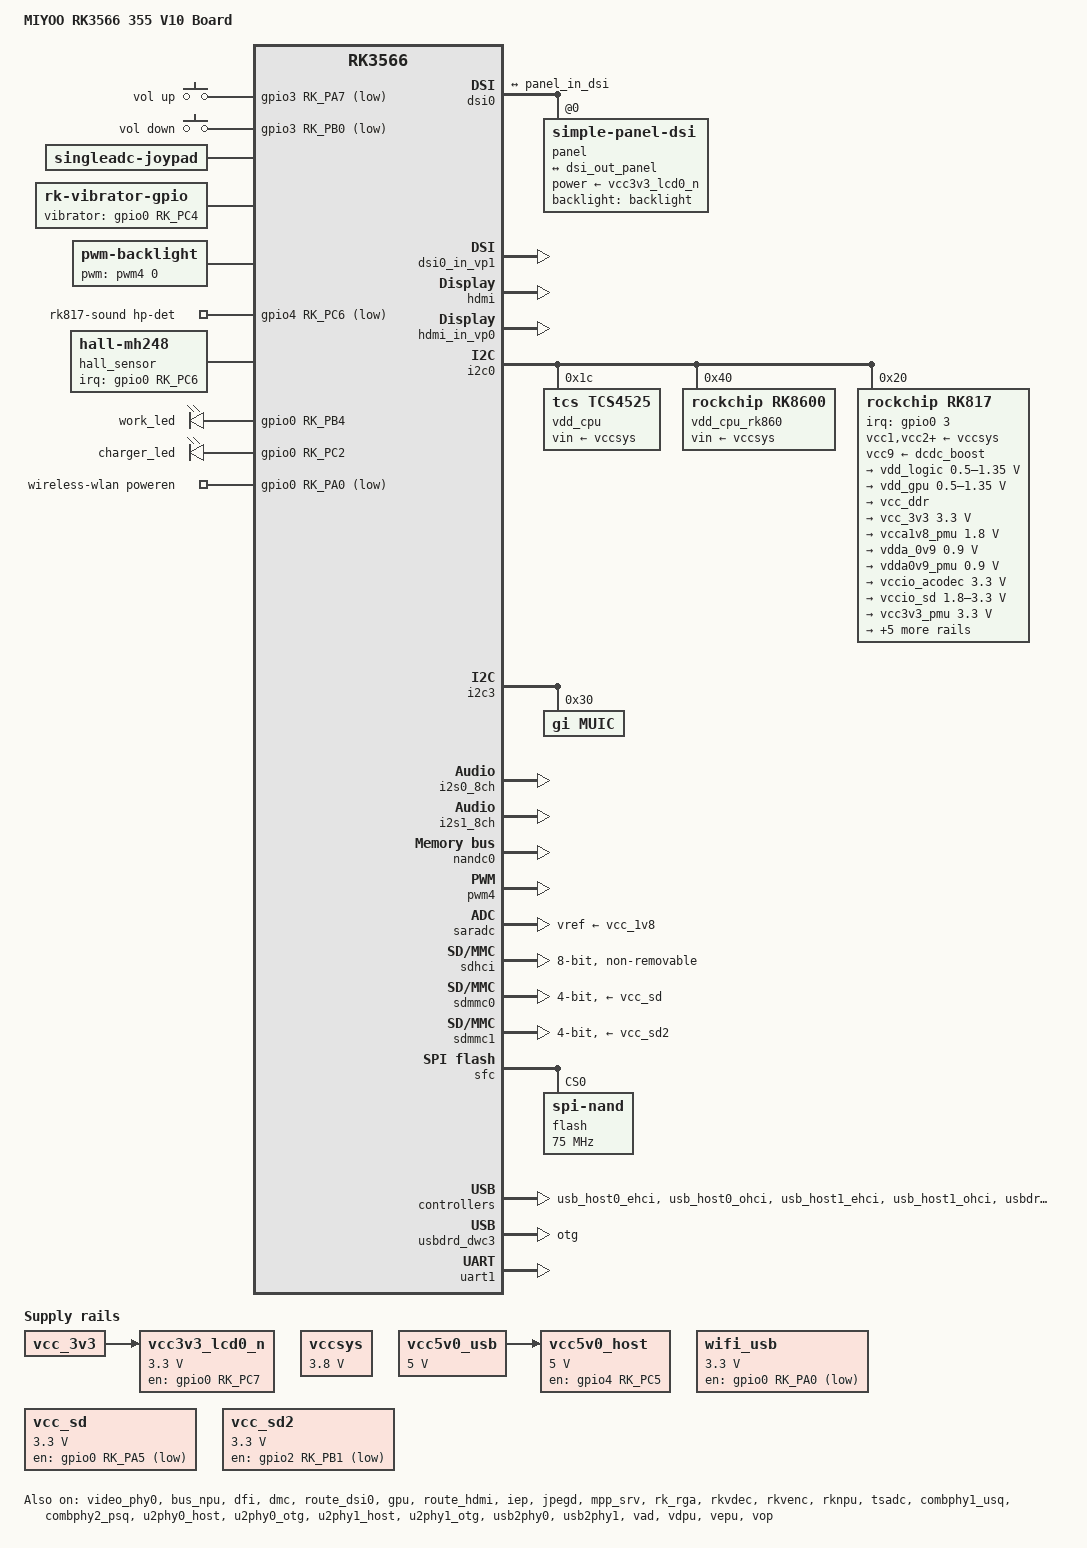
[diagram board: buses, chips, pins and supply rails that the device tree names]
// SPDX-License-Identifier: (GPL-2.0+ OR MIT)
/*
 * Copyright (c) 2020 Rockchip Electronics Co., Ltd.
 *
 */
/dts-v1/;

#include <dt-bindings/gpio/gpio.h>
#include <dt-bindings/display/media-bus-format.h>
#include <dt-bindings/pinctrl/rockchip.h>
#include <dt-bindings/display/rockchip_vop.h>
#include <dt-bindings/pwm/pwm.h>
#include <dt-bindings/input/rk-input.h>
#include <dt-bindings/display/drm_mipi_dsi.h>
#include "rk3566.dtsi"
#include "rk3568-linux.dtsi"


/ {
	model = "MIYOO RK3566 355 V10 Board";
	compatible = "rockchip,rk3566-miyoo-355-v10-linux", "rockchip,rk3566";
	
	chosen {
		bootargs = "console=tty0 console=ttyFIQ0 audit=0 firmware_class.path=/vendor/etc/firmware cma=0 init=/init rootwait ro loop.max_part=7 androidboot.console=ttyFIQ0 androidboot.hardware=rk30board androidboot.boot_devices=fe2b0000.dwmmc androidboot.selinux=permissive enforcing=0 mtdparts=spi-nand0:0x200000@0x000000(preloader),0x100000@0x200000(vnvm),0x400000@0x300000(uboot),0x2600000@0x700000(boot),0x4000000@0x2d00000(rootfs),0x1260000@0x6d00000(userdata)";
	};


/*
#define RETRO_DEVICE_ID_JOYPAD_B        0
#define RETRO_DEVICE_ID_JOYPAD_Y        1
#define RETRO_DEVICE_ID_JOYPAD_SELECT   2
#define RETRO_DEVICE_ID_JOYPAD_START    3
#define RETRO_DEVICE_ID_JOYPAD_UP       4
#define RETRO_DEVICE_ID_JOYPAD_DOWN     5
#define RETRO_DEVICE_ID_JOYPAD_LEFT     6
#define RETRO_DEVICE_ID_JOYPAD_RIGHT    7
#define RETRO_DEVICE_ID_JOYPAD_A        8
#define RETRO_DEVICE_ID_JOYPAD_X        9
#define RETRO_DEVICE_ID_JOYPAD_L       10
#define RETRO_DEVICE_ID_JOYPAD_R       11
#define RETRO_DEVICE_ID_JOYPAD_L2      12
#define RETRO_DEVICE_ID_JOYPAD_R2      13
#define RETRO_DEVICE_ID_JOYPAD_L3      14
#define RETRO_DEVICE_ID_JOYPAD_R3      15
*/

	gpio-keys-polled {
		compatible = "gpio-keys-polled";
		poll-interval = <10>;
        debounce-interval=<10>;
		vol-up-button {
				label = "vol up";
				linux,code = <KEY_VOLUMEUP>;
				gpios = <&gpio3 RK_PA7 GPIO_ACTIVE_LOW>;
		};
		vol-down-button {
				label = "vol down";
				linux,code = <KEY_VOLUMEDOWN>;
				gpios = <&gpio3 RK_PB0 GPIO_ACTIVE_LOW>;
		};
	};

	singleadc-joypad {
		compatible = "singleadc-joypad";
		joypad-name = "retrogame_joypad";
		joypad-product = <0x1101>;
		joypad-revision = <0x100>;
		joypad-vendor = <0x484b>;
		status = "okay";
		rocknix,use-miyoo-serial-joypad;
		pinctrl-names = "default";
		amux-count = <0>;
		poll-interval = <10>;

		sw1 {
			gpios = <&gpio3 RK_PA3 GPIO_ACTIVE_LOW>;
			label = "up";
			linux,code = <544>;
		};

		sw2 {
			gpios = <&gpio3 RK_PA4 GPIO_ACTIVE_LOW>;
			label = "down";
			linux,code = <545>;
		};

		sw3 {
			gpios = <&gpio3 RK_PA5 GPIO_ACTIVE_LOW>;
			label = "left";
			linux,code = <546>;
		};

		sw4 {
			gpios = <&gpio3 RK_PA6 GPIO_ACTIVE_LOW>;
			label = "right";
			linux,code = <547>;
		};

		sw5 {
			gpios = <&gpio3 RK_PC3 GPIO_ACTIVE_LOW>;
			label = "a";
			linux,code = <304>;
		};

		sw6 {
			gpios = <&gpio3 RK_PC2 GPIO_ACTIVE_LOW>;
			label = "b";
			linux,code = <305>;
		};

		sw7 {
			gpios = <&gpio3 RK_PC1 GPIO_ACTIVE_LOW>;
			label = "x";
			linux,code = <307>;
		};

		sw8 {
			gpios = <&gpio3 RK_PC0 GPIO_ACTIVE_LOW>;
			label = "y";
			linux,code = <308>;
		};

		sw9 {
			gpios = <&gpio3 RK_PB6 GPIO_ACTIVE_LOW>;
			label = "select";
			linux,code = <314>;
		};

		sw10 {
			gpios = <&gpio3 RK_PB5 GPIO_ACTIVE_LOW>;
			label = "start";
			linux,code = <315>;
		};

		sw11 {
			gpios = <&gpio3 RK_PA1 GPIO_ACTIVE_LOW>;
			label = "menu";
			linux,code = <316>;
		};

		sw12 {
			gpios = <&gpio3 RK_PB1 GPIO_ACTIVE_LOW>;
			label = "l1";
			linux,code = <310>;
		};

		sw14 {
			gpios = <&gpio3 RK_PB2 GPIO_ACTIVE_LOW>;
			label = "l2";
			linux,code = <312>;
		};

		sw13 {
			gpios = <&gpio3 RK_PB3 GPIO_ACTIVE_LOW>;
			label = "r1";
			linux,code = <311>;
		};

		sw15 {
			gpios = <&gpio3 RK_PB4 GPIO_ACTIVE_LOW>;
			label = "r2";
			linux,code = <313>;
		};

		sw16 {
			gpios = <&gpio2 RK_PC1 GPIO_ACTIVE_HIGH>;
			label = "l3";
			linux,code = <317>;
		};

		sw17 {
			gpios = <&gpio2 RK_PC0 GPIO_ACTIVE_HIGH>;
			label = "r3";
			linux,code = <318>;
		};
	};

	vibrator {
		compatible = "rk-vibrator-gpio";
		vibrator-gpio = <&gpio0 RK_PC4 GPIO_ACTIVE_HIGH>;
		status = "okay";
	};

	backlight: backlight {
		compatible = "pwm-backlight";
		pwms = <&pwm4 0 1250000 0>;
		brightness-levels = <
			  0  20  20  21  21  22  22  23
			 23  24  24  25  25  26  26  27
			 27  28  28  29  29  30  30  31
			 31  32  32  33  33  34  34  35
			 35  36  36  37  37  38  38  39
			 40  41  42  43  44  45  46  47
			 48  49  50  51  52  53  54  55
			 56  57  58  59  60  61  62  63
			 64  65  66  67  68  69  70  71
			 72  73  74  75  76  77  78  79
			 80  81  82  83  84  85  86  87
			 88  89  90  91  92  93  94  95
			 96  97  98  99 100 101 102 103
			104 105 106 107 108 109 110 111
			112 113 114 115 116 117 118 119
			120 121 122 123 124 125 126 127
			128 129 130 131 132 133 134 135
			136 137 138 139 140 141 142 143
			144 145 146 147 148 149 150 151
			152 153 154 155 156 157 158 159
			160 161 162 163 164 165 166 167
			168 169 170 171 172 173 174 175
			176 177 178 179 180 181 182 183
			184 185 186 187 188 189 190 191
			192 193 194 195 196 197 198 199
			200 201 202 203 204 205 206 207
			208 209 210 211 212 213 214 215
			216 217 218 219 220 221 222 223
			224 225 226 227 228 229 230 231
			232 233 234 235 236 237 238 239
			240 241 242 243 244 245 246 247
			248 249 250 251 252 253 254 255
		>;
		default-brightness-level = <200>;
	};

	charge-animation {
		compatible = "rockchip,uboot-charge";
		rockchip,uboot-charge-on = <1>;
		rockchip,android-charge-on = <0>;
		rockchip,uboot-low-power-voltage = <3350>;
		rockchip,screen-on-voltage = <3400>;
		status = "okay";
	};

	hdmi_sound: hdmi-sound {
		compatible = "simple-audio-card";
		simple-audio-card,format = "i2s";
		simple-audio-card,mclk-fs = <128>;
		simple-audio-card,name = "rockchip,hdmi";
		status = "okay";

		simple-audio-card,cpu {
				sound-dai = <&i2s0_8ch>;
		};
		simple-audio-card,codec {
				sound-dai = <&hdmi>;
		};
	};

	rk817-sound {
		compatible = "rockchip,multicodecs-card";
		rockchip,card-name = "rockchip-rk817";
		hp-det-gpio = <&gpio4 RK_PC6 GPIO_ACTIVE_LOW>;
		rockchip,format = "i2s";
		rockchip,mclk-fs = <256>;
		rockchip,cpu = <&i2s1_8ch>;
		rockchip,codec = <&rk817_codec>;
		pinctrl-names = "default";
		pinctrl-0 = <&hp_det>;
	};

	hall_sensor: hall-mh248 {
		compatible = "hall-mh248";
		irq-gpio = <&gpio0 RK_PC6 IRQ_TYPE_EDGE_BOTH>;
		hall-active = <1>;
		status = "okay";
	};

	leds: leds {
		compatible = "gpio-leds";
		work_led: work {
			gpios = <&gpio0 RK_PB4 GPIO_ACTIVE_HIGH>;
			linux,default-trigger = "default-on";
		};
		charger_led: charger {
			gpios = <&gpio0 RK_PC2 GPIO_ACTIVE_HIGH>;
			linux,default-trigger = "battery-charging";
			retain-state-suspended;
		};
	};

	vccsys: vccsys {
		compatible = "regulator-fixed";
		regulator-name = "vcc3v8_sys";
		regulator-always-on;
		regulator-boot-on;
		regulator-min-microvolt = <3800000>;
		regulator-max-microvolt = <3800000>;
	};

	vcc5v0_usb: vcc5v0-usb {
		compatible = "regulator-fixed";
		regulator-name = "vcc5v0_usb";
		regulator-always-on;
		regulator-boot-on;
		regulator-min-microvolt = <5000000>;
		regulator-max-microvolt = <5000000>;
	};

	vcc5v0_host: vcc5v0-host-regulator {
		compatible = "regulator-fixed";
		regulator-name = "vcc5v0_host";
		regulator-boot-on;
		regulator-always-on;
		regulator-min-microvolt = <5000000>;
		regulator-max-microvolt = <5000000>;
		enable-active-high;
		gpio = <&gpio4 RK_PC5 GPIO_ACTIVE_HIGH>;	/*USB_HOST_PWREN2_H*/
		vin-supply = <&vcc5v0_usb>;
		pinctrl-names = "default";
		pinctrl-0 = <&vcc5v0_host_en>;
	};
	
	vcc3v3_lcd0_n: vcc3v3-lcd0-n {
		compatible = "regulator-fixed";
		regulator-name = "vcc3v3_lcd0_n";
		regulator-boot-on;
		regulator-always-on;
		regulator-min-microvolt = <3300000>;
		regulator-max-microvolt = <3300000>;
		enable-active-high;
		gpio = <&gpio0 RK_PC7 GPIO_ACTIVE_HIGH>;	/*LCD_PWREN_H*/
		vin-supply = <&vcc_3v3>;

		regulator-state-mem {
			regulator-off-in-suspend;
		};
	};
	
	wifi_usb: wifi-usb {
		compatible = "regulator-fixed";
		regulator-name = "wifi_usb";
		regulator-min-microvolt = <3300000>;
		regulator-max-microvolt = <3300000>;
		regulator-boot-on;
		enable-active-low;
		gpio = <&gpio0 RK_PA0 GPIO_ACTIVE_LOW>;
	};

	wireless-wlan {
		compatible = "wlan-platdata";
		rockchip,grf = <&grf>;
		wifi_chip_type = "rtl8733bu";
		pinctrl-names = "default";
		/* pinctrl-0 = <&wifi_host_wake_irq>; */
		/* WIFI,host_wake_irq = <&gpio0 RK_PC4 GPIO_ACTIVE_HIGH>; */
		WIFI,poweren_gpio = <&gpio0 RK_PA0 GPIO_ACTIVE_LOW>;	/*WIFI_PWREN_L*/
		status = "okay";
	};

	vcc_sd: vcc-sd {
		compatible = "regulator-fixed";
		enable-active-low;
		enable-gpio = <&gpio0 RK_PA5 GPIO_ACTIVE_LOW>;	/*SDMMC_PWREN_L*/
		regulator-min-microvolt = <3300000>;
		regulator-max-microvolt = <3300000>;
		pinctrl-names = "default";
		pinctrl-0 = <&vcc_sd_h>;
		regulator-name = "vcc_sd";
	};
	
	vcc_sd2: vcc-sd2 {
		compatible = "regulator-fixed";
		enable-active-low;
		enable-gpio = <&gpio2 RK_PB1 GPIO_ACTIVE_LOW>;	/*SDMMC1_PWREN_L*/
		regulator-min-microvolt = <3300000>;
		regulator-max-microvolt = <3300000>;
		pinctrl-names = "default";
		pinctrl-0 = <&vcc_sd2_h>;
		regulator-name = "vcc_sd2";
	};

	test-power {
		status = "okay";
	};
};

&video_phy0 {
	status = "okay";
};

&video_phy1 {
	status = "disabled";
};

&vp0 {
	cursor-win-id = <ROCKCHIP_VOP2_CLUSTER0>;
};


&bus_npu {
	bus-supply = <&vdd_logic>;
	pvtm-supply = <&vdd_cpu_rk860>;
	status = "okay";
};


&cpu0 {
	cpu-supply = <&vdd_cpu_rk860>;
	status = "okay";
};

&dfi {
	status = "okay";
};

&dmc {
	center-supply = <&vdd_logic>;
	status = "okay";
};

&dsi0 {
	status = "okay";

	panel@0 {
		status = "okay";
		compatible = "simple-panel-dsi";
		reg = <0>;
		power-supply = <&vcc3v3_lcd0_n>;
		backlight = <&backlight>;
		prepare-delay-ms = <0>;
		reset-delay-ms = <160>;
		init-delay-ms = <200>;
		enable-delay-ms = <200>;
		disable-delay-ms = <20>;
		unprepare-delay-ms = <20>;

		width-mm = <68>;
		height-mm = <121>;
		dsi,flags = <(MIPI_DSI_MODE_VIDEO | MIPI_DSI_MODE_VIDEO_BURST |
			      MIPI_DSI_MODE_LPM | MIPI_DSI_MODE_EOT_PACKET)>;
		dsi,format = <MIPI_DSI_FMT_RGB888>;
		dsi,lanes  = <2>;

		panel-init-sequence = [
			05 FA 01 11   
			05 20 01 29
			29 00 04 B9 F1 12 87
			29 00 04 B2 78 04 70
			29 00 0B B3 10 10 28 28 03 FF 00 00 00 00
			23 00 02 B4 80
			29 00 03 B5 0A 0A
			29 00 05 B8 26 22 F0 13
			29 00 1C BA 31 81 05 F9 0E 0E 20 00 00 00 00 00 00 00 44 25 00 91 0A 00 00 01 4F 01 00 00 37
			23 00 02 BC 47   //1 defaut=46
			29 00 06 BF 02 11 00 80 04
			29 00 0A C0 73 73 50 50 00 00 12 73 00
			29 00 12 C1 73 00 32 32 77 F4 77 77 CC CC FF FF 11 11 00 00 32
			29 00 0D C7 10 00 0A 00 00 00 00 00 ED C5 00 A5
			29 00 05 C8 10 40 1E 03
			23 00 02 CC 0B
			29 00 23 E0 00 05 09 29 3C 3F 3B 37 05 0A 0C 10 13 10 13 12 1A 00 05 09 29 3C 3F 3B 37 05 0A 0C 10 13 10 13 12 1A
			29 00 08 E1 11 11 91 00 00 00 00
			29 00 0F E3 07 07 0B 0B 0B 0B 00 00 00 00 FF 04 C0 10
			29 00 40 E9 C8 10 02 00 00 B0 B1 11 31 23 28 80 B0 B1 27 08 00 04 02 00 00 00 00 04 02 00 00 00 88 88 BA 60 24 08 88 88 88 88 88 88 88 BA 71 35 18 88 88 88 88 88 00 00 00 01 00 00 00 00 00 00 00 00 00
			29 00 3E EA 97 0A 82 02 03 07 00 00 00 00 00 00 81 88 BA 17 53 88 88 88 88 88 88 80 88 BA 06 42 88 88 88 88 88 88 23 00 00 02 A5 00 00 00 00 00 00 00 00 00 00 00 00 00 00 00 00 00 00 00 00 00 00
			29 00 04 EF FF FF 01
		];

		panel-exit-sequence = [
			05 00 01 28
			05 00 01 10
		];

		display-timings {
			native-mode = <&timing0>;
			timing0: timing0 {
				clock-frequency = <32000000>;
				hactive = <640>;
				vactive = <480>;
				hfront-porch = <150>;
				hsync-len = <120>;
				hback-porch = <120>;
				vfront-porch = <20>;
				vsync-len = <6>;
				vback-porch = <12>;
				hsync-active = <0>;
				vsync-active = <0>;
				de-active = <0>;
				pixelclk-active = <0>;
			};
		};

		ports {
			#address-cells = <1>;
			#size-cells = <0>;

			port@0 {
				reg = <0>;
				panel_in_dsi: endpoint {
					remote-endpoint = <&dsi_out_panel>;
				};
			};
		};
	};

	ports {
		#address-cells = <1>;
		#size-cells = <0>;

		port@1 {
			reg = <1>;
			dsi_out_panel: endpoint {
				remote-endpoint = <&panel_in_dsi>;
			};
		};
	};

};

&route_dsi0 {
	status = "okay";
	connect = <&vp1_out_dsi0>;
};

&dsi0_in_vp0 {
	status = "disabled";
};

&dsi0_in_vp1 {
	status = "okay";
};

&gpu {
	mali-supply = <&vdd_gpu>;
	status = "okay";
};

&hdmi {
	status = "okay";
	rockchip,phy-table =
		<92812500  0x8009 0x0000 0x0270>,
		<165000000 0x800b 0x0000 0x026d>,
		<185625000 0x800b 0x0000 0x01ed>,
		<297000000 0x800b 0x0000 0x01ad>,
		<594000000 0x8029 0x0000 0x0088>,
		<000000000 0x0000 0x0000 0x0000>;
};

&hdmi_in_vp0 {
	status = "okay";
};

&hdmi_in_vp1 {
	status = "disabled";
};

&route_hdmi {
	status = "okay";
	connect = <&vp0_out_hdmi>;
};

&hdmi_sound {
	status = "okay";
};


&i2c0 {
	status = "okay";

	vdd_cpu: tcs4525@1c {
		compatible = "tcs,tcs4525";
		reg = <0x1c>;
		vin-supply = <&vccsys>;
		regulator-compatible = "fan53555-reg";
		regulator-name = "vdd_cpu";
		regulator-min-microvolt = <712500>;
		regulator-max-microvolt = <1390000>;
		regulator-init-microvolt = <900000>;
		regulator-ramp-delay = <2300>;
		fcs,suspend-voltage-selector = <1>;
		regulator-boot-on;
		regulator-always-on;
		regulator-state-mem {
			regulator-off-in-suspend;
		};
	};

    vdd_cpu_rk860: rk8600@40{
        compatible = "rockchip,rk8600";
        reg = <0x40>;
        vin-supply = <&vccsys>;
        regulator-compatible = "rk860x-reg";
        regulator-name = "vdd_cpu";
        regulator-min-microvolt = <712500>;
        regulator-max-microvolt = <1390000>;
        regulator-init-microvolt = <900000>;
        regulator-ramp-delay = <2300>;
        rockchip,suspend-voltage-selector = <1>;
        regulator-boot-on;
        regulator-always-on;
        regulator-state-mem {
            regulator-off-in-suspend;
        };
    };

	rk817: pmic@20 {
		compatible = "rockchip,rk817";
		reg = <0x20>;
		interrupt-parent = <&gpio0>;
		interrupts = <3 IRQ_TYPE_LEVEL_LOW>;

		pinctrl-names = "default", "pmic-sleep",
				"pmic-power-off", "pmic-reset";
		pinctrl-0 = <&pmic_int>;
		pinctrl-1 = <&soc_slppin_slp>, <&rk817_slppin_slp>;
		pinctrl-2 = <&soc_slppin_gpio>, <&rk817_slppin_pwrdn>;
		pinctrl-3 = <&soc_slppin_gpio>, <&rk817_slppin_rst>;
		rockchip,system-power-controller;
		wakeup-source;
		#clock-cells = <1>;
		clock-output-names = "rk808-clkout1", "rk808-clkout2";
		//fb-inner-reg-idxs = <2>;
		/* 1: rst regs (default in codes), 0: rst the pmic */
		pmic-reset-func = <0>;
		/* not save the PMIC_POWER_EN register in uboot */
		not-save-power-en = <1>;
		vcc1-supply = <&vccsys>;
		vcc2-supply = <&vccsys>;
		vcc3-supply = <&vccsys>;
		vcc4-supply = <&vccsys>;
		vcc5-supply = <&vccsys>;
		vcc6-supply = <&vccsys>;
		vcc7-supply = <&vccsys>;
		vcc8-supply = <&vccsys>;
		vcc9-supply = <&dcdc_boost>;

		pwrkey {
			status = "okay";
		};

		pinctrl_rk8xx: pinctrl_rk8xx {
			gpio-controller;
			#gpio-cells = <2>;

			rk817_slppin_null: rk817_slppin_null {
				pins = "gpio_slp";
				function = "pin_fun0";
			};

			rk817_slppin_slp: rk817_slppin_slp {
				pins = "gpio_slp";
				function = "pin_fun1";
			};

			rk817_slppin_pwrdn: rk817_slppin_pwrdn {
				pins = "gpio_slp";
				function = "pin_fun2";
			};

			rk817_slppin_rst: rk817_slppin_rst {
				pins = "gpio_slp";
				function = "pin_fun3";
			};
		};

		regulators {
			vdd_logic: DCDC_REG1 {
				regulator-always-on;
				regulator-boot-on;
				regulator-min-microvolt = <500000>;
				regulator-max-microvolt = <1350000>;
				regulator-init-microvolt = <900000>;
				regulator-ramp-delay = <6001>;
				regulator-initial-mode = <0x2>;
				regulator-name = "vdd_logic";
				regulator-state-mem {
					regulator-off-in-suspend;
				};
			};

			vdd_gpu: DCDC_REG2 {
				regulator-always-on;
				regulator-boot-on;
				regulator-min-microvolt = <500000>;
				regulator-max-microvolt = <1350000>;
				regulator-init-microvolt = <900000>;
				regulator-ramp-delay = <6001>;
				regulator-initial-mode = <0x2>;
				regulator-name = "vdd_gpu";
				regulator-state-mem {
					regulator-off-in-suspend;
				};
			};

			vcc_ddr: DCDC_REG3 {
				regulator-always-on;
				regulator-boot-on;
				regulator-initial-mode = <0x2>;
				regulator-name = "vcc_ddr";
				regulator-state-mem {
					regulator-on-in-suspend;
				};
			};

			vcc_3v3: DCDC_REG4 {
				regulator-always-on;
				regulator-boot-on;
				regulator-min-microvolt = <3300000>;
				regulator-max-microvolt = <3300000>;
				regulator-initial-mode = <0x2>;
				regulator-name = "vcc_3v3";
				regulator-state-mem {
					regulator-off-in-suspend;
					regulator-suspend-microvolt = <3300000>;
				};
			};

			vcca1v8_pmu: LDO_REG1 {
				regulator-always-on;
				regulator-boot-on;
				regulator-min-microvolt = <1800000>;
				regulator-max-microvolt = <1800000>;
				regulator-name = "vcca1v8_pmu";
				regulator-state-mem {
					regulator-on-in-suspend;
					regulator-suspend-microvolt = <1800000>;
				};
			};

			vdda_0v9: LDO_REG2 {
				regulator-always-on;
				regulator-boot-on;
				regulator-min-microvolt = <900000>;
				regulator-max-microvolt = <900000>;
				regulator-name = "vdda_0v9";
				regulator-state-mem {
					regulator-off-in-suspend;
				};
			};

			vdda0v9_pmu: LDO_REG3 {
				regulator-always-on;
				regulator-boot-on;
				regulator-min-microvolt = <900000>;
				regulator-max-microvolt = <900000>;
				regulator-name = "vdda0v9_pmu";
				regulator-state-mem {
					regulator-on-in-suspend;
					regulator-suspend-microvolt = <900000>;
				};
			};

			vccio_acodec: LDO_REG4 {
				regulator-always-on;
				regulator-boot-on;
				regulator-min-microvolt = <3300000>;
				regulator-max-microvolt = <3300000>;
				regulator-name = "vccio_acodec";
				regulator-state-mem {
					regulator-off-in-suspend;
				};
			};

			vccio_sd: LDO_REG5 {
				regulator-always-on;
				regulator-boot-on;
				regulator-min-microvolt = <1800000>;
				regulator-max-microvolt = <3300000>;
				regulator-name = "vccio_sd";
				regulator-state-mem {
					regulator-off-in-suspend;
				};
			};

			vcc3v3_pmu: LDO_REG6 {
				regulator-always-on;
				regulator-boot-on;
				regulator-min-microvolt = <3300000>;
				regulator-max-microvolt = <3300000>;
				regulator-name = "vcc3v3_pmu";
				regulator-state-mem {
					regulator-on-in-suspend;
					regulator-suspend-microvolt = <3300000>;
				};
			};

			vcc_1v8: LDO_REG7 {
				regulator-always-on;
				regulator-boot-on;
				regulator-min-microvolt = <1800000>;
				regulator-max-microvolt = <1800000>;
				regulator-name = "vcc_1v8";
				regulator-state-mem {
					regulator-off-in-suspend;
				};
			};

			vcc1v8_dvp: LDO_REG8 {
				regulator-always-on;
				regulator-boot-on;
				regulator-min-microvolt = <1800000>;
				regulator-max-microvolt = <1800000>;
				regulator-name = "vcc1v8_dvp";
				regulator-state-mem {
					regulator-off-in-suspend;
				};
			};

			vcc2v8_dvp: LDO_REG9 {
				regulator-always-on;
				regulator-boot-on;
				regulator-min-microvolt = <2800000>;
				regulator-max-microvolt = <2800000>;
				regulator-name = "vcc2v8_dvp";
				regulator-state-mem {
					regulator-off-in-suspend;
				};
			};

			dcdc_boost: BOOST {
				regulator-always-on;
				regulator-boot-on;
				regulator-min-microvolt = <5000000>;
				regulator-max-microvolt = <5000000>;
				regulator-name = "boost";
				regulator-state-mem {
					regulator-off-in-suspend;
				};
			};

			otg_switch: OTG_SWITCH {
				regulator-name = "otg_switch";
				regulator-state-mem {
					regulator-off-in-suspend;
				};
			};
		};

		battery {
			compatible = "rk817,battery";
			ocv_table = <3400 3420 3450 3470 3495 3516 3540
			          3566 3585 3622 3655 3685 3727 3759
					  3790 3836 3873 3920 3970 4186 4227>;
			design_capacity = <3000>;
			design_qmax = <3300>;
			bat_res = <100>;
			sleep_enter_current = <150>;
			sleep_exit_current = <180>;
			sleep_filter_current = <100>;
			power_off_thresd = <3350>;
			zero_algorithm_vol = <3850>;
			max_soc_offset = <60>;
			monitor_sec = <5>;
			sample_res = <10>;
			virtual_power = <0>;
		};

		charger {
			compatible = "rk817,charger";
			min_input_voltage = <4500>;
			max_input_current = <1800>;
			max_chrg_current = <1800>;
			max_chrg_voltage = <4300>;
			chrg_term_mode = <0>;
			chrg_finish_cur = <300>;
			virtual_power = <0>;
			dc_det_adc = <0>;
			extcon = <&usb2phy0>;
			gate_function_disable = <1>;
		};

		rk817_codec: codec {
			#sound-dai-cells = <0>;
			compatible = "rockchip,rk817-codec";
			clocks = <&cru I2S1_MCLKOUT>;
			clock-names = "mclk";
			assigned-clocks = <&cru I2S1_MCLKOUT>, <&cru I2S1_MCLK_TX_IOE>;
			assigned-clock-rates = <12288000>;
			assigned-clock-parents = <&cru I2S1_MCLKOUT_TX>, <&cru I2S1_MCLKOUT_TX>;
			pinctrl-names = "default";
			pinctrl-0 = <&i2s1m0_mclk>;
			hp-volume = <20>;
			spk-volume = <3>;
			/*out-l2spk-r2hp;*/
			spk-ctl-gpios = <&gpio4 RK_PC2 GPIO_ACTIVE_HIGH>;
			status = "okay";
		};
	};
};

&i2c3 {
	status = "okay";

	muic: muic@30 {
		status = "okay";
		compatible = "gi,muic";
		reg = <0x30>;
	};
};

&i2s0_8ch {
	status = "okay";
};

&i2s1_8ch {
	status = "okay";
	rockchip,clk-trcm = <1>;
	pinctrl-names = "default";
	pinctrl-0 = <&i2s1m0_sclktx
		     &i2s1m0_lrcktx
		     &i2s1m0_sdi0
		     &i2s1m0_sdo0>;
};

&iep {
	status = "okay";
};

&iep_mmu {
	status = "okay";
};

&jpegd {
	status = "okay";
};

&jpegd_mmu {
	status = "okay";
};

&mpp_srv {
	status = "okay";
};

&nandc0 {
	status = "okay";
};

 /*
  * There are 10 independent IO domains in RK3566/RK3568, including PMUIO[0:2] and VCCIO[1:7].
  * 1/ PMUIO0 and PMUIO1 are fixed-level power domains which cannot be configured;
  * 2/ PMUIO2 and VCCIO1,VCCIO[3:7] domains require that their hardware power supply voltages
  *    must be consistent with the software configuration correspondingly
  *	a/ When the hardware IO level is connected to 1.8V, the software voltage configuration
  *	   should also be configured to 1.8V accordingly;
  *	b/ When the hardware IO level is connected to 3.3V, the software voltage configuration
  *	   should also be configured to 3.3V accordingly;
  * 3/ VCCIO2 voltage control selection (0xFDC20140)
  *	BIT[0]: 0x0: from GPIO_0A7 (default)
  *	BIT[0]: 0x1: from GRF
  *    Default is determined by Pin FLASH_VOL_SEL/GPIO0_A7:
  *	L:VCCIO2 must supply 3.3V
  *	H:VCCIO2 must supply 1.8V
  */
&pmu_io_domains {
	status = "okay";
	pmuio2-supply = <&vcc3v3_pmu>;
	vccio1-supply = <&vccio_acodec>;
	vccio3-supply = <&vccio_sd>;
	vccio4-supply = <&vcc_3v3>;
	vccio5-supply = <&vcc_1v8>;
	vccio6-supply = <&vcc_1v8>;
	vccio7-supply = <&vcc_3v3>;
};

&pwm4 {
	status = "okay";
};

&rk_rga {
	status = "okay";
};

&rkvdec {
	status = "okay";
};

&rkvdec_mmu {
	status = "okay";
};

&rkvenc {
	venc-supply = <&vdd_logic>;
	status = "okay";
};

&rkvenc_mmu {
	status = "okay";
};

&rknpu {
	rknpu-supply = <&vdd_gpu>;
	status = "okay";
};

&rknpu_mmu {
	status = "okay";
};

&saradc {
	status = "okay";
	vref-supply = <&vcc_1v8>;
};

&sdhci {
	bus-width = <8>;
	no-sdio;
	no-sd;
	non-removable;
	max-frequency = <200000000>;
	full-pwr-cycle-in-suspend;
	status = "okay";
};

&sdmmc0 {
	max-frequency = <150000000>;
	no-sdio;
	no-mmc;
	bus-width = <4>;
	cap-mmc-highspeed;
	cap-sd-highspeed;
	disable-wp;
	sd-uhs-sdr104;
	vmmc-supply = <&vcc_sd>;
	vqmmc-supply = <&vccio_sd>;
	pinctrl-names = "default";
	pinctrl-0 = <&sdmmc0_bus4 &sdmmc0_clk &sdmmc0_cmd &sdmmc0_det>;
	status = "okay";
};

&sdmmc1 {
	max-frequency = <150000000>;
	no-sdio;
	no-mmc;
	bus-width = <4>;
	cap-mmc-highspeed;
	cap-sd-highspeed;
	disable-wp;
	sd-uhs-sdr104;
	vmmc-supply = <&vcc_sd2>;
	vqmmc-supply = <&vccio_sd>;
	pinctrl-names = "default";
	pinctrl-0 = <&sdmmc1_bus4 &sdmmc1_clk &sdmmc1_cmd &sdmmc1_det>;
	status = "okay";
};

&sfc {
	status = "okay";

	flash@0 {
		compatible = "spi-nand";
		reg = <0>;
		spi-max-frequency = <75000000>;
		spi-rx-bus-width = <4>;
		spi-tx-bus-width = <1>;
	};
};

&tsadc {
	status = "okay";
};

&combphy1_usq {
	status = "okay";
};

&combphy2_psq {
	status = "okay";
};

&u2phy0_host {
	phy-supply = <&vcc5v0_host>;
	status = "okay";
};

&u2phy0_otg {
	status = "okay";
};

&u2phy1_host {
	phy-supply = <&vcc5v0_host>;
	status = "okay";
};

&u2phy1_otg {
	phy-supply = <&vcc5v0_host>;
	status = "okay";
};

&usb2phy0 {
	status = "okay";
};

&usb2phy1 {
	status = "okay";
};

&usb_host0_ehci {
	status = "okay";
};

&usb_host0_ohci {
	status = "okay";
};

&usb_host1_ehci {
	status = "okay";
};

&usb_host1_ohci {
	status = "okay";
};

&usbdrd_dwc3 {
	dr_mode = "otg";
	extcon = <&usb2phy0>;
	status = "okay";
};

&usbdrd30 {
	status = "okay";
};

&usbhost_dwc3 {
	status = "okay";
};

&usbhost30 {
	status = "okay";
};

&vad {
	rockchip,audio-src = <&i2s1_8ch>;
	rockchip,buffer-time-ms = <128>;
	rockchip,det-channel = <0>;
	rockchip,mode = <0>;
	status = "okay";
};

&vdpu {
	status = "okay";
};

&vdpu_mmu {
	status = "okay";
};

&vepu {
	status = "okay";
};

&vepu_mmu {
	status = "okay";
};

&vop {
	status = "okay";
	assigned-clocks = <&cru DCLK_VOP0>, <&cru DCLK_VOP1>;
	assigned-clock-parents = <&pmucru PLL_HPLL>, <&cru PLL_VPLL>;
};

&vop_mmu {
	status = "okay";
};

&uart1 {
	status = "okay";
	pinctrl-names = "default";
	pinctrl-0 = <&uart1m0_xfer &uart1m0_ctsn>;
};

&pinctrl {

	headphone {
		hp_det: hp-det {
			rockchip,pins = <4 RK_PC6 RK_FUNC_GPIO &pcfg_pull_down>;
		};
	};

	pmic {
		pmic_int: pmic_int {
			rockchip,pins =
				<0 RK_PA3 RK_FUNC_GPIO &pcfg_pull_up>;
		};

		soc_slppin_gpio: soc_slppin_gpio {
			rockchip,pins =
				<0 RK_PA2 RK_FUNC_GPIO &pcfg_output_low>;
		};

		soc_slppin_slp: soc_slppin_slp {
			rockchip,pins =
				<0 RK_PA2 1 &pcfg_pull_none>;
		};

		soc_slppin_rst: soc_slppin_rst {
			rockchip,pins =
				<0 RK_PA2 2 &pcfg_pull_none>;
		};
	};

	usb {
		vcc5v0_host_en: vcc5v0-host-en {
			rockchip,pins = <4 RK_PC5 RK_FUNC_GPIO &pcfg_pull_none>;
		};

	};

	vcc-sd {
		vcc_sd_h: vcc-sd-h {
			rockchip,pins = <0 RK_PA5 RK_FUNC_GPIO &pcfg_pull_down>;
		};
		vcc_sd2_h: vcc-sd2-h {
			rockchip,pins = <2 RK_PB1 RK_FUNC_GPIO &pcfg_pull_down>;
		};		
	};

};

